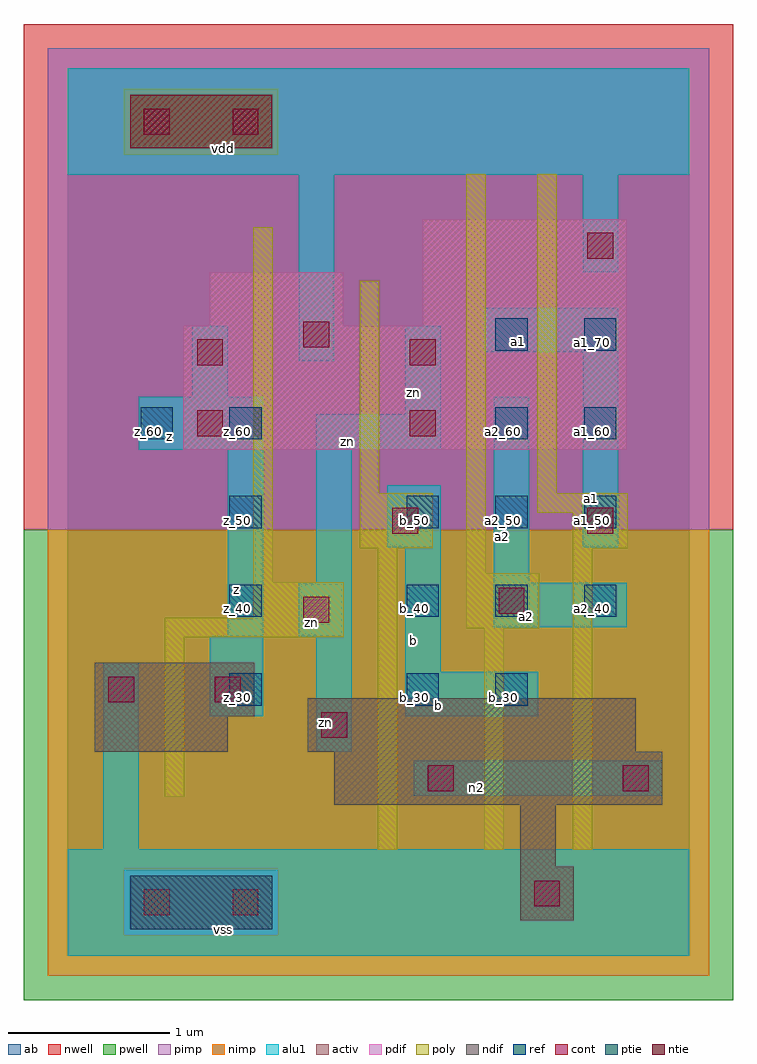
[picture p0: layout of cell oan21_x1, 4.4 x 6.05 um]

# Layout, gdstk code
import gdstk
lib = gdstk.Library(unit=1e-6, precision=2.5e-09)
def R(c, l, rs):  # rectangles x0, y0, x1, y1
    for r in rs: c.add(gdstk.rectangle(r[:2], r[2:], *l))
def A(c, l, x, y, w, h, nx, ny, dx, dy):  # array of equal rectangles
    R(c, l, [(x+i*dx, y+j*dy, x+i*dx+w, y+j*dy+h) for i in range(nx) for j in range(ny)])
ndif = (3, 0)
pdif = (4, 0)
ntie = (5, 0)
ptie = (6, 0)
ref = (24, 0)
cont = (25, 0)
pwell = (41, 0)
nwell = (42, 0)
activ = (43, 0)
pimp = (44, 0)
nimp = (45, 0)
poly = (46, 0)
alu1 = (49, 0)
ab = (63, 0)

oan21_x1 = lib.new_cell('oan21_x1')
R(oan21_x1, ndif, [(2.805,0.22,3.135,0.55), (2.805,0.55,3.025,0.935), (1.65,0.935,3.685,1.265), (0.165,1.265,0.99,1.485), (1.485,1.265,3.52,1.595), (0.165,1.485,1.155,1.815)])
R(oan21_x1, pdif, [(0.715,3.135,3.465,3.905), (0.88,3.905,1.705,4.235), (2.2,3.905,3.465,4.565)])
R(oan21_x1, ntie, [(0.385,5.005,1.265,5.335)])
R(oan21_x1, ptie, [(0.385,0.165,1.265,0.495)])
A(oan21_x1, ref, 1, 1.55, 0.2, 0.2, 1, 4, 0, 0.55)
A(oan21_x1, ref, 2.1, 2.1, 0.2, 0.2, 3, 2, 0.55, 0.55)
R(oan21_x1, ref, [(2.1,1.55,2.3,1.75), (2.65,1.55,2.85,1.75), (0.45,3.2,0.65,3.4), (2.65,3.2,2.85,3.4), (3.2,3.2,3.4,3.4), (2.65,3.75,2.85,3.95), (3.2,3.75,3.4,3.95)])
R(oan21_x1, cont, [(0.47,0.25,0.63,0.41), (1.02,0.25,1.18,0.41), (2.89,0.305,3.05,0.465), (2.23,1.02,2.39,1.18), (3.44,1.02,3.6,1.18), (1.57,1.35,1.73,1.51), (0.25,1.57,0.41,1.73), (0.91,1.57,1.07,1.73), (1.46,2.065,1.62,2.225), (2.67,2.12,2.83,2.28), (2.01,2.615,2.17,2.775), (3.22,2.615,3.38,2.775), (0.8,3.22,0.96,3.38), (2.12,3.22,2.28,3.38), (0.8,3.66,0.96,3.82), (2.12,3.66,2.28,3.82), (1.46,3.77,1.62,3.93), (3.22,4.32,3.38,4.48), (0.47,5.09,0.63,5.25), (1.02,5.09,1.18,5.25)])
R(oan21_x1, pwell, [(-0.275,-0.275,4.125,2.64)])
R(oan21_x1, nwell, [(-0.275,2.64,4.125,5.775)])
R(oan21_x1, activ, [(0.385,0.165,1.265,0.495), (2.805,0.22,3.135,0.55), (2.805,0.55,3.025,0.935), (1.65,0.935,3.685,1.265), (0.165,1.265,0.99,1.485), (1.485,1.265,3.52,1.595), (0.165,1.485,1.155,1.815), (0.715,3.135,3.465,3.905), (0.88,3.905,1.705,4.235), (2.2,3.905,3.465,4.565), (0.385,5.005,1.265,5.335)])
R(oan21_x1, pimp, [(0.345,0.125,1.305,0.535), (-0.125,2.64,3.975,4.965), (-0.125,4.965,0.345,5.375), (1.305,4.965,3.975,5.375), (-0.125,5.375,3.975,5.625)])
R(oan21_x1, nimp, [(-0.125,-0.125,3.975,0.125), (-0.125,0.125,0.345,0.535), (1.305,0.125,3.975,0.535), (-0.125,0.535,3.975,2.64), (0.345,4.965,1.305,5.375)])
R(oan21_x1, poly, [(1.92,0.655,2.04,2.525), (2.58,0.655,2.7,2.03), (3.13,0.655,3.25,2.525), (0.6,0.985,0.72,1.975), (0.6,1.975,1.71,2.095), (2.47,2.03,2.92,2.37), (1.15,2.095,1.71,2.315), (1.15,2.315,1.27,4.515), (2.47,2.37,2.59,4.845), (1.81,2.525,2.26,2.865), (3.13,2.525,3.47,2.745), (2.91,2.745,3.47,2.865), (1.81,2.865,1.93,4.185), (2.91,2.865,3.03,4.845)])
R(oan21_x1, alu1, [(0,0,3.85,0.66), (0.22,0.66,0.44,1.815), (2.145,0.99,3.685,1.21), (1.54,1.265,1.76,1.98), (0.88,1.485,1.21,1.98), (2.09,1.485,2.915,1.76), (2.09,1.76,2.31,2.53), (0.99,1.98,1.21,3.135), (1.43,1.98,1.76,2.31), (2.64,2.035,3.465,2.31), (1.54,2.31,1.76,3.135), (2.64,2.31,2.86,3.465), (1.98,2.53,2.31,2.915), (3.19,2.53,3.41,3.74), (0.44,3.135,1.21,3.465), (1.54,3.135,2.31,3.355), (2.09,3.355,2.31,3.905), (0.77,3.465,0.99,3.905), (1.43,3.685,1.65,4.84), (2.585,3.74,3.41,4.015), (3.19,4.235,3.41,4.84), (0,4.84,3.85,5.5)])
R(oan21_x1, ab, [(0,0,3.85,5.5)])
oan21_x1.add(gdstk.Label('vss', (0.9625,0.165), layer=49, texttype=0))
oan21_x1.add(gdstk.Label('n2', (2.53,1.045), layer=49, texttype=0))
oan21_x1.add(gdstk.Label('b', (2.295,1.5525), layer=49, texttype=0))
oan21_x1.add(gdstk.Label('a2', (2.845,2.1025), layer=49, texttype=0))
oan21_x1.add(gdstk.Label('a1', (3.245,2.8325), layer=49, texttype=0))
oan21_x1.add(gdstk.Label('a2', (2.695,2.5975), layer=49, texttype=0))
oan21_x1.add(gdstk.Label('b', (2.145,1.9525), layer=49, texttype=0))
oan21_x1.add(gdstk.Label('zn', (1.595,1.4425), layer=49, texttype=0))
oan21_x1.add(gdstk.Label('zn', (1.5125,2.0625), layer=49, texttype=0))
oan21_x1.add(gdstk.Label('zn', (1.7325,3.19), layer=49, texttype=0))
oan21_x1.add(gdstk.Label('z', (1.045,2.2675), layer=49, texttype=0))
oan21_x1.add(gdstk.Label('a1', (2.79,3.8075), layer=49, texttype=0))
oan21_x1.add(gdstk.Label('zn', (2.145,3.4925), layer=49, texttype=0))
oan21_x1.add(gdstk.Label('z', (0.6325,3.2175), layer=49, texttype=0))
oan21_x1.add(gdstk.Label('vdd', (0.9625,5.005), layer=49, texttype=0))
oan21_x1.add(gdstk.Label('z_30', (1.05,1.6), layer=24, texttype=0))
oan21_x1.add(gdstk.Label('z_40', (1.05,2.15), layer=24, texttype=0))
oan21_x1.add(gdstk.Label('z_50', (1.05,2.7), layer=24, texttype=0))
oan21_x1.add(gdstk.Label('z_60', (1.05,3.25), layer=24, texttype=0))
oan21_x1.add(gdstk.Label('z_60', (0.5,3.25), layer=24, texttype=0))
oan21_x1.add(gdstk.Label('a2_40', (2.7,2.15), layer=24, texttype=0))
oan21_x1.add(gdstk.Label('a2_40', (3.25,2.15), layer=24, texttype=0))
oan21_x1.add(gdstk.Label('b_40', (2.15,2.15), layer=24, texttype=0))
oan21_x1.add(gdstk.Label('b_30', (2.7,1.6), layer=24, texttype=0))
oan21_x1.add(gdstk.Label('b_30', (2.15,1.6), layer=24, texttype=0))
oan21_x1.add(gdstk.Label('a1_70', (2.7,3.8), layer=24, texttype=0))
oan21_x1.add(gdstk.Label('a1_70', (3.25,3.8), layer=24, texttype=0))
oan21_x1.add(gdstk.Label('a1_60', (3.25,3.25), layer=24, texttype=0))
oan21_x1.add(gdstk.Label('b_50', (2.15,2.7), layer=24, texttype=0))
oan21_x1.add(gdstk.Label('a2_50', (2.7,2.7), layer=24, texttype=0))
oan21_x1.add(gdstk.Label('a1_50', (3.25,2.7), layer=24, texttype=0))
oan21_x1.add(gdstk.Label('a2_60', (2.7,3.25), layer=24, texttype=0))

lib.write_gds('oan21_x1.gds')
